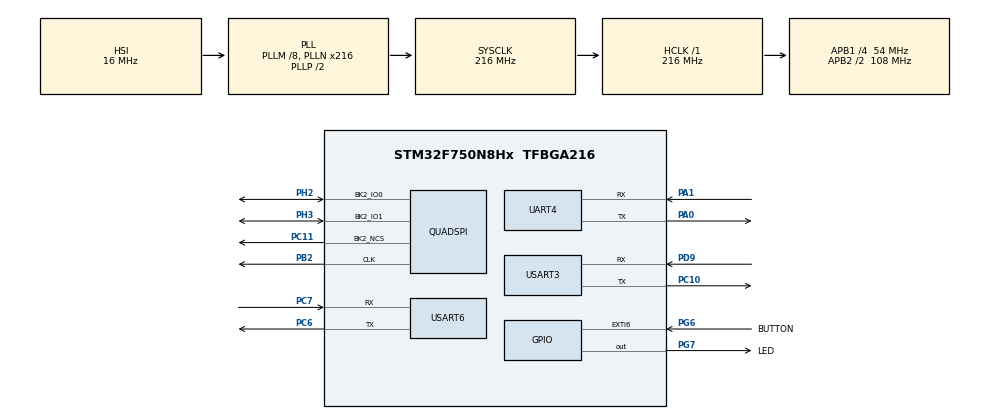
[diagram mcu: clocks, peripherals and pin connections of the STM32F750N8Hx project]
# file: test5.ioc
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DMA2D.ColorMode=DMA2D_OUTPUT_RGB565
Mcu.Family=STM32F7
Mcu.Name=STM32F750N8Hx
Mcu.Package=TFBGA216
NVIC.EXTI9_5_IRQn=true\:0\:0\:false\:false\:true\:true\:true\:true
NVIC.PriorityGroup=NVIC_PRIORITYGROUP_4
NVIC.USART6_IRQn=true\:0\:0\:false\:false\:true\:true\:true\:true
PA0/WKUP.Mode=Asynchronous
PA0/WKUP.Signal=UART4_TX
PA1.Mode=Asynchronous
PA1.Signal=UART4_RX
PB2.Mode=Single Bank 2 2IOs
PB2.Signal=QUADSPI_CLK
PC10.Mode=Asynchronous
PC10.Signal=USART3_TX
PC11.Mode=Single Bank 2 2IOs
PC11.Signal=QUADSPI_BK2_NCS
PC6.Mode=Asynchronous
PC6.Signal=USART6_TX
PC7.Mode=Asynchronous
PC7.Signal=USART6_RX
PD9.Mode=Asynchronous
PD9.Signal=USART3_RX
PG6.GPIO_Label=BUTTON
PG6.GPIO_PuPd=GPIO_NOPULL
PG6.Signal=GPXTI6
PG7.GPIO_Label=LED
PG7.Signal=GPIO_Output
PH0/OSC_IN.Mode=HSE-External-Oscillator
PH0/OSC_IN.Signal=RCC_OSC_IN
PH1/OSC_OUT.Mode=HSE-External-Oscillator
PH1/OSC_OUT.Signal=RCC_OSC_OUT
PH2.Mode=Single Bank 2 2IOs
PH2.Signal=QUADSPI_BK2_IO0
PH3.Mode=Single Bank 2 2IOs
PH3.Signal=QUADSPI_BK2_IO1
ProjectManager.HeapSize=0x200
ProjectManager.StackSize=0x400
ProjectManager.TargetToolchain=STM32CubeIDE
RCC.AHBFreq_Value=216000000
RCC.APB1CLKDivider=RCC_HCLK_DIV4
RCC.APB1Freq_Value=54000000
RCC.APB1TimFreq_Value=108000000
RCC.APB2CLKDivider=RCC_HCLK_DIV2
RCC.APB2Freq_Value=108000000
RCC.APB2TimFreq_Value=216000000
RCC.CortexFreq_Value=216000000
RCC.HCLKFreq_Value=216000000
RCC.HSE_VALUE=25000000
RCC.HSI_VALUE=16000000
RCC.LSE_VALUE=32768
RCC.PLL48CLockSelection=RCC_CLK48SOURCE_PLLSAIP
RCC.PLLI2SN=100
RCC.PLLM=8
RCC.PLLN=216
RCC.PLLQ=9
RCC.PLLSAIN=50
RCC.PLLSAIP=RCC_PLLSAIP_DIV8
RCC.SDMMCClockSelection=RCC_SDMMC1CLKSOURCE_CLK48
RCC.SYSCLKFreq_VALUE=216000000
RCC.SYSCLKSource=RCC_SYSCLKSOURCE_PLLCLK
RCC.USBFreq_Value=12500000
RCC.VCOOutputFreq_Value=432000000
USART3.VirtualMode-Asynchronous=VM_ASYNC
USART6.VirtualMode-Asynchronous=VM_ASYNC
VP_CRC_VS_CRC.Mode=CRC_Activate
VP_DMA2D_VS_DMA2D.Mode=DMA2D_Activate
board=STM32F7508-DK

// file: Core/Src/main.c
/* USER CODE BEGIN Header */
/**
  ******************************************************************************
  * @file           : main.c
  * @brief          : Main program body
  ******************************************************************************
  * @attention
  *
  * Copyright (c) 2023 STMicroelectronics.
  * All rights reserved.
  *
  * This software is licensed under terms that can be found in the LICENSE file
  * in the root directory of this software component.
  * If no LICENSE file comes with this software, it is provided AS-IS.
  *
  ******************************************************************************
  */
/* USER CODE END Header */
#include "main.h"

/* USER CODE BEGIN Includes */
#include "stm32f7508_discovery_lcd.h"
#include "stdio.h"
#define MAX_PRODUCTS 10
#define BUFFER_SIZE 30
/* USER CODE END Includes */

/* USER CODE BEGIN PTD */
typedef struct {
    char name[9];
    int price;
	int quantity;
	int total_price;
}Product;

typedef struct {
	int product_num;
	Product p[MAX_PRODUCTS];
	int cart_total_price;

} Cart;

/* USER CODE END PTD */

CRC_HandleTypeDef hcrc;

DMA2D_HandleTypeDef hdma2d;

QSPI_HandleTypeDef hqspi;

UART_HandleTypeDef huart4;
UART_HandleTypeDef huart3;
UART_HandleTypeDef huart6;

void SystemClock_Config(void);
static void MX_GPIO_Init(void);
static void MX_DMA2D_Init(void);
static void MX_QUADSPI_Init(void);
static void MX_USART6_UART_Init(void);
static void MX_CRC_Init(void);
static void MX_UART4_Init(void);
static void MX_USART3_UART_Init(void);
/* USER CODE BEGIN PFP */
static void LCD_Config(void);
static void Draw_Line(void);
static void add_product(Cart* cart, int n);
static void convert_menu_string(Cart cart, uint8_t buffer[][BUFFER_SIZE]);
/* USER CODE END PFP */

/* USER CODE BEGIN 0 */
Cart cart;

/* USER CODE END 0 */

int main(void)
{
  /* USER CODE BEGIN 1 */
  // 다양한 타입의 변수들을 하나의 문자열로 저장하기 위한 버
  uint8_t buffer[MAX_PRODUCTS][BUFFER_SIZE];
  uint8_t total_price_buffer[BUFFER_SIZE];

  // 구조체 초기
  cart.product_num = 0;
  cart.cart_total_price = 0;

  /* USER CODE END 1 */

  /* MCU Configuration--------------------------------------------------------*/

  /* Reset of all peripherals, Initializes the Flash interface and the Systick. */
  HAL_Init();

  /* Configure the system clock */
  SystemClock_Config();

  /* Initialize all configured peripherals */
  MX_GPIO_Init();
  MX_DMA2D_Init();
  MX_QUADSPI_Init();
  MX_USART6_UART_Init();
  MX_CRC_Init();
  MX_UART4_Init();
  MX_USART3_UART_Init();
  /* USER CODE BEGIN 2 */

  LCD_Config();
  BSP_LCD_SetTextColor(LCD_COLOR_BLUE);
  BSP_LCD_SetBackColor(LCD_COLOR_WHITE);

  // 구조체에 개로운 상품 추
  for(int j=0; j<2; j++){
	  add_product(&cart,j);
  }
  /* USER CODE END 2 */

  /* Infinite loop */
  /* USER CODE BEGIN WHILE */

  HAL_NVIC_SetPriority(EXTI0_IRQn, 0, 0); // EXTI0 인터럽트 우선순위 설정
  HAL_NVIC_EnableIRQ(EXTI0_IRQn); // EXTI0 인터럽트 활성화
  while (1)
  {

	HAL_Delay(50);
	convert_menu_string(cart, buffer);
	sprintf(total_price_buffer, " Total Price : %12d", cart.cart_total_price);

	for (int k=0; k<cart.product_num; k++){
		  BSP_LCD_DisplayStringAtLine(2*(k+1), buffer[k]);
	  }
	BSP_LCD_DisplayStringAtLine(10, total_price_buffer);
	Draw_Line();
	HAL_Delay(500);

    /* USER CODE END WHILE */

  }
}

void HAL_GPIO_EXTI_Callback(uint16_t GPIO_Pin)
{
    if (GPIO_Pin == GPIO_PIN_6)
    {
//    	HAL_GPIO_TogglePin(GPIOG, GPIO_PIN_7);
    	add_product(&cart, cart.product_num);
    }
}
void SystemClock_Config(void)
{
  RCC_OscInitTypeDef RCC_OscInitStruct = {0};
  RCC_ClkInitTypeDef RCC_ClkInitStruct = {0};

  /** Configure the main internal regulator output voltage
  */
  __HAL_RCC_PWR_CLK_ENABLE();
  __HAL_PWR_VOLTAGESCALING_CONFIG(PWR_REGULATOR_VOLTAGE_SCALE1);

  /** Initializes the RCC Oscillators according to the specified parameters
  * in the RCC_OscInitTypeDef structure.
  */
  RCC_OscInitStruct.OscillatorType = RCC_OSCILLATORTYPE_HSI;
  RCC_OscInitStruct.HSIState = RCC_HSI_ON;
  RCC_OscInitStruct.HSICalibrationValue = RCC_HSICALIBRATION_DEFAULT;
  RCC_OscInitStruct.PLL.PLLState = RCC_PLL_ON;
  RCC_OscInitStruct.PLL.PLLSource = RCC_PLLSOURCE_HSI;
  RCC_OscInitStruct.PLL.PLLM = 8;
  RCC_OscInitStruct.PLL.PLLN = 216;
  RCC_OscInitStruct.PLL.PLLP = RCC_PLLP_DIV2;
  RCC_OscInitStruct.PLL.PLLQ = 9;
  if (HAL_RCC_OscConfig(&RCC_OscInitStruct) != HAL_OK)
  {
    Error_Handler();
  }

  /** Activate the Over-Drive mode
  */
  if (HAL_PWREx_EnableOverDrive() != HAL_OK)
  {
    Error_Handler();
  }

  /** Initializes the CPU, AHB and APB buses clocks
  */
  RCC_ClkInitStruct.ClockType = RCC_CLOCKTYPE_HCLK|RCC_CLOCKTYPE_SYSCLK
                              |RCC_CLOCKTYPE_PCLK1|RCC_CLOCKTYPE_PCLK2;
  RCC_ClkInitStruct.SYSCLKSource = RCC_SYSCLKSOURCE_PLLCLK;
  RCC_ClkInitStruct.AHBCLKDivider = RCC_SYSCLK_DIV1;
  RCC_ClkInitStruct.APB1CLKDivider = RCC_HCLK_DIV4;
  RCC_ClkInitStruct.APB2CLKDivider = RCC_HCLK_DIV2;

  if (HAL_RCC_ClockConfig(&RCC_ClkInitStruct, FLASH_LATENCY_7) != HAL_OK)
  {
    Error_Handler();
  }
}

static void MX_CRC_Init(void)
{

  hcrc.Instance = CRC;
  hcrc.Init.DefaultPolynomialUse = DEFAULT_POLYNOMIAL_ENABLE;
  hcrc.Init.DefaultInitValueUse = DEFAULT_INIT_VALUE_ENABLE;
  hcrc.Init.InputDataInversionMode = CRC_INPUTDATA_INVERSION_NONE;
  hcrc.Init.OutputDataInversionMode = CRC_OUTPUTDATA_INVERSION_DISABLE;
  hcrc.InputDataFormat = CRC_INPUTDATA_FORMAT_BYTES;
  if (HAL_CRC_Init(&hcrc) != HAL_OK)
  {
    Error_Handler();
  }

}

static void MX_DMA2D_Init(void)
{

  hdma2d.Instance = DMA2D;
  hdma2d.Init.Mode = DMA2D_M2M;
  hdma2d.Init.ColorMode = DMA2D_OUTPUT_RGB565;
  hdma2d.Init.OutputOffset = 0;
  hdma2d.LayerCfg[1].InputOffset = 0;
  hdma2d.LayerCfg[1].InputColorMode = DMA2D_INPUT_RGB565;
  hdma2d.LayerCfg[1].AlphaMode = DMA2D_NO_MODIF_ALPHA;
  hdma2d.LayerCfg[1].InputAlpha = 0;
  if (HAL_DMA2D_Init(&hdma2d) != HAL_OK)
  {
    Error_Handler();
  }
  if (HAL_DMA2D_ConfigLayer(&hdma2d, 1) != HAL_OK)
  {
    Error_Handler();
  }

}

static void MX_QUADSPI_Init(void)
{

  /* QUADSPI parameter configuration*/
  hqspi.Instance = QUADSPI;
  hqspi.Init.ClockPrescaler = 255;
  hqspi.Init.FifoThreshold = 1;
  hqspi.Init.SampleShifting = QSPI_SAMPLE_SHIFTING_NONE;
  hqspi.Init.FlashSize = 1;
  hqspi.Init.ChipSelectHighTime = QSPI_CS_HIGH_TIME_1_CYCLE;
  hqspi.Init.ClockMode = QSPI_CLOCK_MODE_0;
  hqspi.Init.FlashID = QSPI_FLASH_ID_2;
  hqspi.Init.DualFlash = QSPI_DUALFLASH_DISABLE;
  if (HAL_QSPI_Init(&hqspi) != HAL_OK)
  {
    Error_Handler();
  }

}

static void MX_UART4_Init(void)
{

  huart4.Instance = UART4;
  huart4.Init.BaudRate = 115200;
  huart4.Init.WordLength = UART_WORDLENGTH_8B;
  huart4.Init.StopBits = UART_STOPBITS_1;
  huart4.Init.Parity = UART_PARITY_NONE;
  huart4.Init.Mode = UART_MODE_TX_RX;
  huart4.Init.HwFlowCtl = UART_HWCONTROL_NONE;
  huart4.Init.OverSampling = UART_OVERSAMPLING_16;
  huart4.Init.OneBitSampling = UART_ONE_BIT_SAMPLE_DISABLE;
  huart4.AdvancedInit.AdvFeatureInit = UART_ADVFEATURE_NO_INIT;
  if (HAL_UART_Init(&huart4) != HAL_OK)
  {
    Error_Handler();
  }

}

static void MX_USART3_UART_Init(void)
{

  huart3.Instance = USART3;
  huart3.Init.BaudRate = 115200;
  huart3.Init.WordLength = UART_WORDLENGTH_8B;
  huart3.Init.StopBits = UART_STOPBITS_1;
  huart3.Init.Parity = UART_PARITY_NONE;
  huart3.Init.Mode = UART_MODE_TX_RX;
  huart3.Init.HwFlowCtl = UART_HWCONTROL_NONE;
  huart3.Init.OverSampling = UART_OVERSAMPLING_16;
  huart3.Init.OneBitSampling = UART_ONE_BIT_SAMPLE_DISABLE;
  huart3.AdvancedInit.AdvFeatureInit = UART_ADVFEATURE_NO_INIT;
  if (HAL_UART_Init(&huart3) != HAL_OK)
  {
    Error_Handler();
  }

}

static void MX_USART6_UART_Init(void)
{

  huart6.Instance = USART6;
  huart6.Init.BaudRate = 115200;
  huart6.Init.WordLength = UART_WORDLENGTH_8B;
  huart6.Init.StopBits = UART_STOPBITS_1;
  huart6.Init.Parity = UART_PARITY_NONE;
  huart6.Init.Mode = UART_MODE_TX_RX;
  huart6.Init.HwFlowCtl = UART_HWCONTROL_NONE;
  huart6.Init.OverSampling = UART_OVERSAMPLING_16;
  huart6.Init.OneBitSampling = UART_ONE_BIT_SAMPLE_DISABLE;
  huart6.AdvancedInit.AdvFeatureInit = UART_ADVFEATURE_NO_INIT;
  if (HAL_UART_Init(&huart6) != HAL_OK)
  {
    Error_Handler();
  }

}

static void MX_GPIO_Init(void)
{
  GPIO_InitTypeDef GPIO_InitStruct = {0};

  /* GPIO Ports Clock Enable */
  __HAL_RCC_GPIOC_CLK_ENABLE();
  __HAL_RCC_GPIOH_CLK_ENABLE();
  __HAL_RCC_GPIOG_CLK_ENABLE();
  __HAL_RCC_GPIOD_CLK_ENABLE();
  __HAL_RCC_GPIOB_CLK_ENABLE();
  __HAL_RCC_GPIOA_CLK_ENABLE();

  /*Configure GPIO pin Output Level */
  HAL_GPIO_WritePin(LED_GPIO_Port, LED_Pin, GPIO_PIN_RESET);

  /*Configure GPIO pin : LED_Pin */
  GPIO_InitStruct.Pin = LED_Pin;
  GPIO_InitStruct.Mode = GPIO_MODE_OUTPUT_PP;
  GPIO_InitStruct.Pull = GPIO_NOPULL;
  GPIO_InitStruct.Speed = GPIO_SPEED_FREQ_LOW;
  HAL_GPIO_Init(LED_GPIO_Port, &GPIO_InitStruct);

  /*Configure GPIO pin : BUTTON_Pin */
  GPIO_InitStruct.Pin = BUTTON_Pin;
  GPIO_InitStruct.Mode = GPIO_MODE_IT_RISING;
  GPIO_InitStruct.Pull = GPIO_NOPULL;
  HAL_GPIO_Init(BUTTON_GPIO_Port, &GPIO_InitStruct);

  /* EXTI interrupt init*/
  HAL_NVIC_SetPriority(EXTI9_5_IRQn, 0, 0);
  HAL_NVIC_EnableIRQ(EXTI9_5_IRQn);

}

/* USER CODE BEGIN 4 */
static void LCD_Config(void)
{
  /* LCD Initialization */
  BSP_LCD_Init();

  /* LCD Initialization */
  BSP_LCD_LayerDefaultInit(0, LCD_FB_START_ADDRESS);

  /* Enable the LCD */
  BSP_LCD_DisplayOn();

  /* Select the LCD Background Layer  */
  BSP_LCD_SelectLayer(0);

  /* Clear the Background Layer */
  BSP_LCD_Clear(LCD_COLOR_WHITE);
}

static void Draw_Line(void){

	BSP_LCD_DrawLine(10,10,470,10);
	BSP_LCD_DrawLine(10,10,10,265);
	BSP_LCD_DrawLine(470,10,470,265);
	BSP_LCD_DrawLine(10,265,470,265);
	BSP_LCD_DisplayStringAt(0, 0, (uint8_t*)"SMART CART", CENTER_MODE);
}

static void add_product(Cart* cart, int n){
	  cart->p[n] = (Product){.price = 10000*(n+1), .quantity = n+1};
	  sprintf(cart->p[n].name, "product%d", n+1);
	  cart->p[n].total_price = cart->p[n].price * cart->p[n].quantity;
	  cart->product_num++;
	  cart->cart_total_price += cart->p[n].total_price;
  }

static void convert_menu_string(Cart cart, uint8_t buffer[][BUFFER_SIZE]){
	for(int j=0; j<cart.product_num; j++){

		  sprintf(buffer[j], " %s|%d  |%2d|%6d", cart.p[j].name, cart.p[j].price, cart.p[j].quantity, cart.p[j].total_price);
	  }
}

/* USER CODE END 4 */

void Error_Handler(void)
{
  __disable_irq();
  while (1)
  {
  }
}
